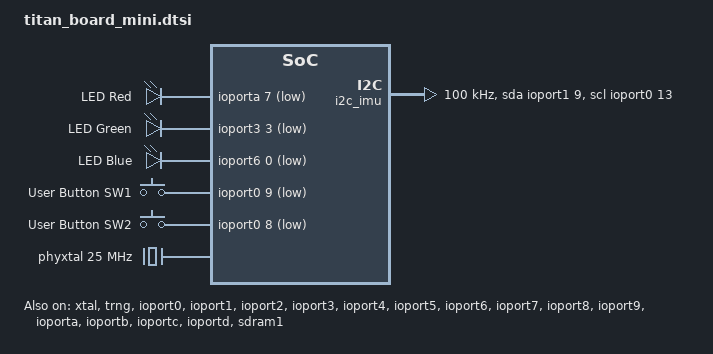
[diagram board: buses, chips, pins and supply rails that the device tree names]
/*
 * Copyright (c) 2026 RT-Thread
 * SPDX-License-Identifier: Apache-2.0
 *
 * Titan Board Mini - Shared board DTSI
 */

#include <zephyr/dt-bindings/gpio/gpio.h>
#include <zephyr/dt-bindings/input/input-event-codes.h>
#include <zephyr/dt-bindings/memory-attr/memory-attr-arm.h>
#include <zephyr/dt-bindings/memory-controller/renesas,ra-sdram.h>
#include "titan_board_mini-pinctrl.dtsi"

/ {
	leds {
		compatible = "gpio-leds";

		led_red: led_r {
			gpios = <&ioporta 7 GPIO_ACTIVE_LOW>;
			label = "LED Red";
		};

		led_green: led_g {
			gpios = <&ioport3 3 GPIO_ACTIVE_LOW>;
			label = "LED Green";
		};

		led_blue: led_b {
			gpios = <&ioport6 0 GPIO_ACTIVE_LOW>;
			label = "LED Blue";
		};
	};

	buttons {
		compatible = "gpio-keys";

		button0: sw1 {
			gpios = <&ioport0 9 (GPIO_PULL_UP | GPIO_ACTIVE_LOW)>;
			label = "User Button SW1";
			zephyr,code = <INPUT_KEY_0>;
		};

		button1: sw2 {
			gpios = <&ioport0 8 (GPIO_PULL_UP | GPIO_ACTIVE_LOW)>;
			label = "User Button SW2";
			zephyr,code = <INPUT_KEY_1>;
		};
	};

	aliases {
		led0 = &led_red;
		led1 = &led_green;
		led2 = &led_blue;
		sw0 = &button0;
		sw1 = &button1;
		watchdog0 = &wdt0;
		rtc = &rtc;
	};

	/* GPIO bit-banged I2C for IMU (SCL=P0.13, SDA=P1.09) */
	i2c_imu: i2c-gpio-imu {
		compatible = "gpio-i2c";
		sda-gpios = <&ioport1 9 (GPIO_OPEN_DRAIN | GPIO_PULL_UP)>;
		scl-gpios = <&ioport0 13 (GPIO_OPEN_DRAIN | GPIO_PULL_UP)>;
		#address-cells = <1>;
		#size-cells = <0>;
		clock-frequency = <I2C_BITRATE_STANDARD>;
		status = "okay";
	};

	/* 64MB SDRAM (16-bit bus) */
	sdram1: sdram@68000000 {
		compatible = "zephyr,memory-region", "mmio-sram";
		device_type = "memory";
		reg = <0x68000000 DT_SIZE_M(64)>;
		zephyr,memory-region = "SDRAM";
		status = "okay";
	};

	/* 25MHz XTAL for Ethernet PHY clock */
	clocks {
		phyxtal: phy-xtal {
			compatible = "fixed-clock";
			clock-frequency = <DT_FREQ_M(25)>;
			#clock-cells = <0x0>;
			status = "okay";
		};
	};
};

/* === Clocks === */
&xtal {
	clock-frequency = <DT_FREQ_M(24)>;
	mosel = <0>;
	#clock-cells = <0>;
	status = "okay";
};

&pll {
	status = "okay";

	pllp: pllp {
		status = "okay";
	};
	pllq: pllq {
		status = "okay";
	};
	pllr: pllr {
		status = "okay";
	};
};

&pll2 {
	clocks = <&xtal>;
	div = <3>;
	mul = <300 0>;
	status = "okay";

	pll2p { div = <4>; freq = <DT_FREQ_M(600)>; status = "okay"; };
	pll2q { div = <3>; freq = <DT_FREQ_M(800)>; status = "okay"; };
	pll2r { div = <5>; freq = <DT_FREQ_M(480)>; status = "okay"; };
};

&sciclk {
	clocks = <&pllr>;
	div = <4>;
	status = "okay";
};

/* GPT clock for timers */
&gptclk {
	clocks = <&pll2p>;
	div = <2>;
	status = "okay";
};

/* ESW clocks for Ethernet switch */
&eswclk {
	clocks = <&pllp>;
	div = <4>;
	status = "okay";
};

&eswphyclk {
	clocks = <&pllp>;
	div = <2>;
	status = "okay";
};

&ethphyclk {
	clocks = <&pllr>;
	div = <16>;
	status = "okay";
};

/* TRNG (entropy) */
&trng {
	status = "okay";
};

/* === IO Ports === */
&ioport0  { status = "okay"; };
&ioport1  { status = "okay"; };
&ioport2  { status = "okay"; };
&ioport3  { status = "okay"; };
&ioport4  { status = "okay"; };
&ioport5  { status = "okay"; };
&ioport6  { status = "okay"; };
&ioport7  { status = "okay"; };
&ioport8  { status = "okay"; };
&ioport9  { status = "okay"; };
&ioporta  { status = "okay"; };
&ioportb  { status = "okay"; };
&ioportc  { status = "okay"; };
&ioportd  { status = "okay"; };

/* === SDRAM Controller === */
&sdram {
	pinctrl-0 = <&sdram_default>;
	pinctrl-names = "default";
	status = "okay";
	auto-refresh-interval = <SDRAM_AUTO_REFRESH_INTERVAL_10CYCLES>;
	auto-refresh-count = <SDRAM_AUTO_REFRESH_COUNT_2TIMES>;
	precharge-cycle-count = <SDRAM_AUTO_PRECHARGE_CYCLE_3CYCLES>;
	multiplex-addr-shift = "9-bit";
	endian-mode = "little-endian";
	continuous-access;
	bus-width = "16-bit";

	bank@0 {
		reg = <0>;
		renesas,ra-sdram-timing = <SDRAM_TRAS_6CYCLES
					   SDRAM_TRCD_3CYCLES
					   SDRAM_TRP_3CYCLES
					   SDRAM_TWR_2CYCLES
					   SDRAM_TCL_3CYCLES
					   937
					   SDRAM_TREFW_8CYCLES>;
	};
};

/* === USB PHY === */
&usbhs_phy {
	phys-clock-src = "xtal";
};

&usbfs {
	pinctrl-0 = <&usbfs_default>;
	pinctrl-names = "default";
	maximum-speed = "full-speed";
};

&usbhs {
	pinctrl-0 = <&usbhs_default>;
	pinctrl-names = "default";
	maximum-speed = "high-speed";
};
